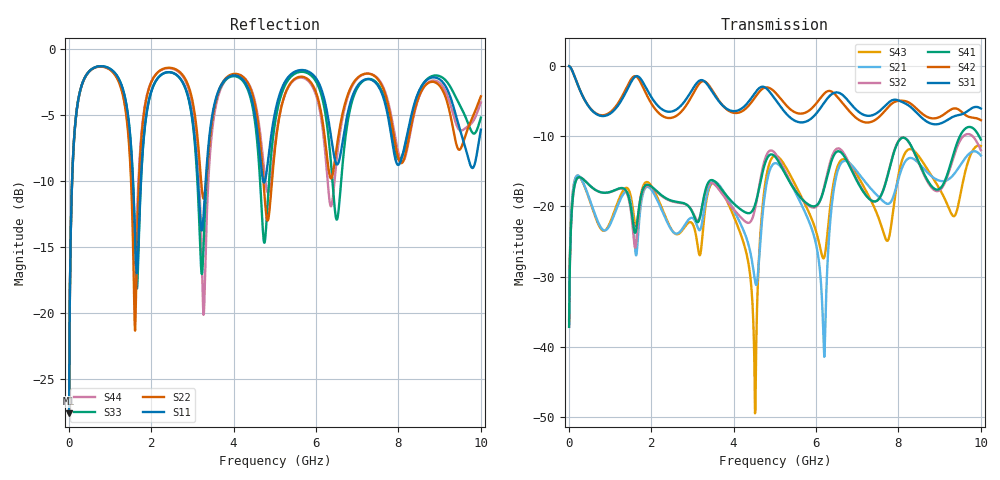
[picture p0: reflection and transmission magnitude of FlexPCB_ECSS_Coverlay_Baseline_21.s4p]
! TOUCHSTONE file generated by CST MICROWAVE STUDIO
! Date and time: Sun Jul  5 19:09:44 2026
! Project name: FlexPCB_ECSS_Coverlay_Baseline.cst
! Parameters = {Gap=0.8; GroundW=7.4; Hadh=0.025; Hcov=0.025; Hsub=0.1; L=50; Tcu=0.035; W=0.26}
! Header version: 2024
! Port assignment regex: !\s*Touchstone port\s*([0-9]+)\s*=\s*(CST MWS port|CST DES external port|CST DES block port)\s*(.+)\s* \(\"(.*)\"\)(\s*mode\s*([0-9]+))?.*
! Touchstone port assignment:
! Touchstone port 1 = CST MWS port 1 ("")
! Touchstone port 2 = CST MWS port 2 ("")
! Touchstone port 3 = CST MWS port 3 ("")
! Touchstone port 4 = CST MWS port 4 ("")
# GHz S MA R 50
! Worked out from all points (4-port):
!   1002 points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, 10 MHz to 10 GHz, reference 50 ohm
!   strongest paths, dB at 10 MHz, 2.51 GHz, 5.01 GHz, 7.503 GHz, 10 GHz:
!     S31: 0.0, -6.5, -4.7, -6.6, -6.1
!     S42: 0.0, -7.4, -3.8, -7.4, -7.7
!     S41: -37.2, -19.2, -12.9, -19.1, -10.5
!     S32: -37.2, -19.3, -12.4, -19.1, -12.0
!     S21: -36.2, -23.5, -13.8, -18.6, -12.8
!     S43: -36.2, -23.4, -12.8, -21.4, -11.4
!   lowest |S11| = -27.6 dB at 10 MHz (marker M1), VSWR 1.09, Z = 49.7 - j4.16 ohm
!   |S11| at or under -10 dB: start of sweep to 81.53 MHz; 1.561 GHz to 1.75 GHz (189 MHz wide, 11.4 % of centre); 3.137 GHz to 3.323 GHz (186.4 MHz wide, 5.77 % of centre)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
0.01  0.04179 -92.0  0.01541 84.7  0.9979 -2.8  0.01384 84.9
      0.01541 84.7  0.04179 -92.0  0.01384 84.9  0.9979 -2.8
      0.9979 -2.8  0.01384 84.9  0.04179 -92.0  0.01541 84.7
      0.01384 84.9  0.9979 -2.8  0.01541 84.7  0.04179 -91.9
1.64  0.1484 162.8  0.04481 -4.5  0.8474 180.0  0.06892 -159.7
      0.04481 -4.5  0.1357 -135.3  0.05537 -155.9  0.8427 172.7
      0.8474 180.0  0.05537 -155.9  0.1314 158.3  0.07257 -4.5
      0.06892 -159.7  0.8427 172.7  0.07257 -4.5  0.2063 -158.0
3.21  0.2121 169.0  0.07049 4.7  0.7939 2.9  0.09072 51.0
      0.07049 4.7  0.3208 155.8  0.09064 48.0  0.7698 10.1
      0.7939 2.9  0.09064 48.0  0.151 158.4  0.04878 14.0
      0.09072 51.0  0.7698 10.1  0.04878 14.0  0.2057 126.5
4.52  0.5622 156.7  0.02933 -130.8  0.6429 -136.4  0.1022 -77.4
      0.02933 -130.8  0.617 149.6  0.0959 -65.0  0.5972 -130.3
      0.6429 -136.4  0.0959 -65.0  0.5308 143.6  0.003351 -127.6
      0.1022 -77.4  0.5972 -130.3  0.003351 -127.6  0.6329 155.5
4.74  0.3129 -178.9  0.1099 84.1  0.7095 -173.9  0.1924 -99.7
      0.1099 84.1  0.2942 149.6  0.206 -92.3  0.6989 -163.2
      0.7095 -173.9  0.206 -92.3  0.1855 173.3  0.1262 70.0
      0.1924 -99.7  0.6989 -163.2  0.1262 70.0  0.3508 156.3
6.35  0.4834 155.7  0.08143 70.0  0.62 23.1  0.1996 86.9
      0.08143 70.0  0.3258 177.1  0.21 90.4  0.6632 9.5
      0.62 23.1  0.21 90.4  0.3915 141.9  0.1021 94.5
      0.1996 86.9  0.6632 9.5  0.1021 94.5  0.2557 175.7
10  0.4963 -154.5  0.2303 -12.0  0.4981 -37.7  0.2991 6.1
    0.2303 -12.0  0.6633 -162.3  0.2508 12.1  0.4113 -42.7
    0.4981 -37.7  0.2508 12.1  0.5509 -175.5  0.2691 -28.1
    0.2991 6.1  0.4113 -42.7  0.2691 -28.1  0.6289 -162.8
